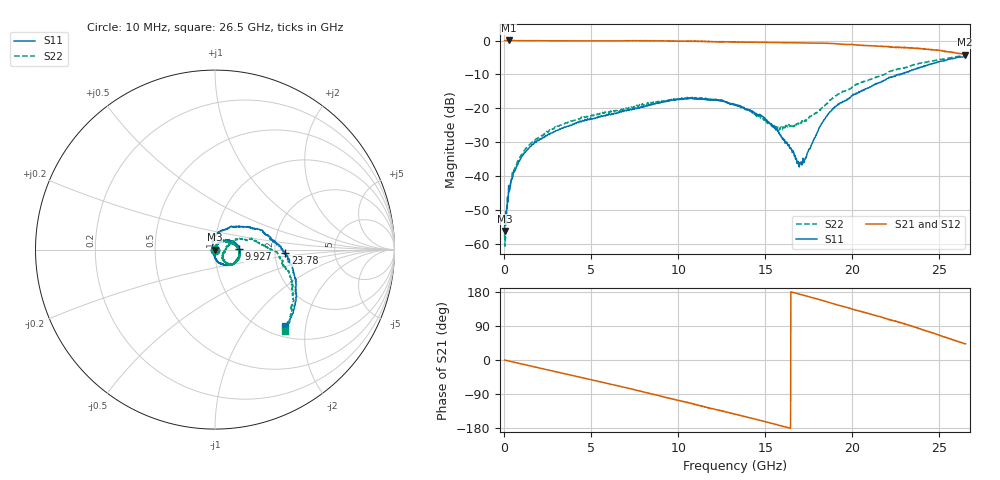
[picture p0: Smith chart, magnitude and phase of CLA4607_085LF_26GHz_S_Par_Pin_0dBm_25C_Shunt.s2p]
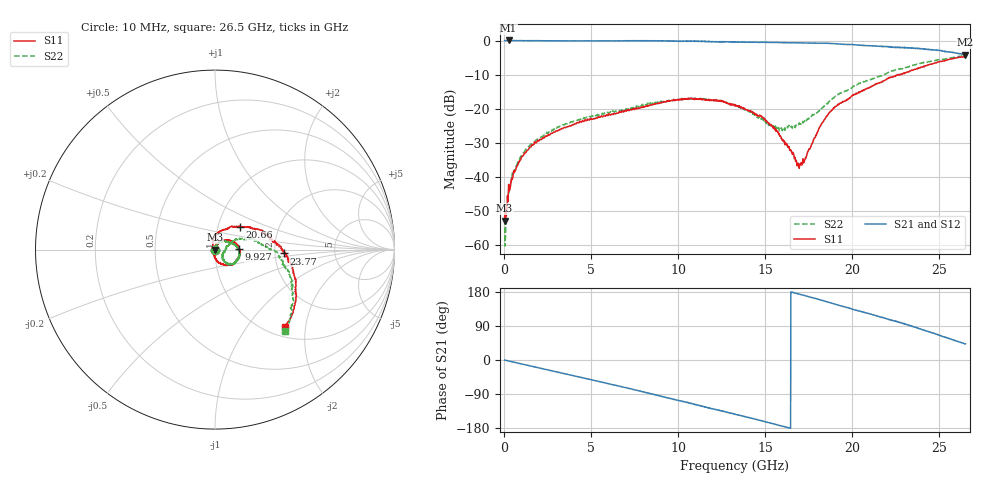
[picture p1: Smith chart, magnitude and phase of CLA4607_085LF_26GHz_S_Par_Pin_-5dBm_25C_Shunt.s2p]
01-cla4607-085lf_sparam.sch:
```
<Qucs Schematic 0.0.19>
<Properties>
  <View=100,11,1819,775,0.879581,0,0>
  <Grid=10,10,1>
  <DataSet=01-cla4607-085lf_sparam.dat>
  <DataDisplay=01-cla4607-085lf_sparam.dpl>
  <OpenDisplay=0>
  <Script=01-cla4607-085lf_sparam.m>
  <RunScript=0>
  <showFrame=0>
  <FrameText0=Title>
  <FrameText1=Drawn By:>
  <FrameText2=Date:>
  <FrameText3=Revision:>
</Properties>
<Symbol>
</Symbol>
<Components>
  <GND * 1 290 290 0 0 0 0>
  <Pac P2 1 380 300 18 -26 0 1 "2" 1 "50 Ohm" 1 "0 dBm" 0 "1 GHz" 0 "26.85" 0>
  <GND * 1 380 350 0 0 0 0>
  <Pac P1 1 170 290 18 -26 0 1 "1" 1 "50 Ohm" 1 "0 dBm" 0 "1 GHz" 0 "26.85" 0>
  <GND * 1 170 340 0 0 0 0>
  <SPfile X1 1 290 240 -26 -46 0 0 "C:/Users/hop/Documents/GitHub/QUCS/32-pin_diode/CLA4607_085LF_26GHz_S_Par_Pin_0dBm_25C_Shunt.s2p" 0 "rectangular" 0 "linear" 0 "open" 0 "2" 0>
  <GND * 1 290 460 0 0 0 0>
  <GND * 1 380 520 0 0 0 0>
  <GND * 1 170 510 0 0 0 0>
  <Pac P4 1 380 470 18 -26 0 1 "4" 1 "50 Ohm" 1 "0 dBm" 0 "1 GHz" 0 "26.85" 0>
  <Pac P5 1 170 460 18 -26 0 1 "3" 1 "50 Ohm" 1 "0 dBm" 0 "1 GHz" 0 "26.85" 0>
  <SPfile X2 1 290 410 -26 -46 0 0 "C:/Users/hop/Documents/GitHub/QUCS/32-pin_diode/CLA4607_085LF_26GHz_S_Par_Pin_-5dBm_25C_Shunt.s2p" 0 "rectangular" 0 "linear" 0 "open" 0 "2" 0>
  <.SP SP1 1 680 60 0 79 0 0 "log" 1 "1 Hz" 1 "1 GHz" 1 "500" 1 "no" 0 "1" 0 "2" 0 "no" 0 "no" 0>
  <Eqn Eqn2_m5dBm 1 560 410 -37 18 0 0 "Z_m5dBm=25*S[4,3]/(1-S[4,3])" 1 "yes" 0>
  <GND * 1 280 650 0 0 0 0>
  <GND * 1 370 710 0 0 0 0>
  <GND * 1 160 700 0 0 0 0>
  <Pac P7 1 160 650 18 -26 0 1 "5" 1 "50 Ohm" 1 "0 dBm" 0 "1 GHz" 0 "26.85" 0>
  <Pac P6 1 370 660 18 -26 0 1 "6" 1 "50 Ohm" 1 "0 dBm" 0 "1 GHz" 0 "26.85" 0>
  <SPfile X3 1 280 600 -26 -46 0 0 "C:/Users/hop/Documents/GitHub/QUCS/32-pin_diode/CLA4607_085LF_26GHz_S_Par_Pin_-10dBm_25C_Shunt.s2p" 0 "rectangular" 0 "linear" 0 "open" 0 "2" 0>
  <Eqn Eqn2_m10dBm 1 550 600 -37 18 0 0 "Z_m10dBm=25*S[6,5]/(1-S[6,5])" 1 "yes" 0>
  <Eqn Eqn1_0dBm 1 550 240 -37 18 0 0 "Z_0dBm=25*S[2,1]/(1-S[2,1])" 1 "yes" 0>
</Components>
<Wires>
  <290 270 290 290 "" 0 0 0 "">
  <380 330 380 350 "" 0 0 0 "">
  <170 240 260 240 "" 0 0 0 "">
  <170 320 170 340 "" 0 0 0 "">
  <170 240 170 260 "" 0 0 0 "">
  <380 240 380 270 "" 0 0 0 "">
  <320 240 380 240 "" 0 0 0 "">
  <290 440 290 460 "" 0 0 0 "">
  <380 500 380 520 "" 0 0 0 "">
  <170 410 260 410 "" 0 0 0 "">
  <170 490 170 510 "" 0 0 0 "">
  <170 410 170 430 "" 0 0 0 "">
  <380 410 380 440 "" 0 0 0 "">
  <320 410 380 410 "" 0 0 0 "">
  <280 630 280 650 "" 0 0 0 "">
  <370 690 370 710 "" 0 0 0 "">
  <160 600 250 600 "" 0 0 0 "">
  <160 680 160 700 "" 0 0 0 "">
  <160 600 160 620 "" 0 0 0 "">
  <370 600 370 630 "" 0 0 0 "">
  <310 600 370 600 "" 0 0 0 "">
</Wires>
<Diagrams>
  <Rect 934 569 858 469 3 #c0c0c0 1 13 1 1 1 1e+09 1 100 1 100000 1 0 1 0 315 0 225 "Frequency [Hz]" "" "">
	<"Z_0dBm" #0000ff 2 3 0 0 0>
	<"Z_m5dBm" #ff0000 2 3 0 0 0>
	<"Z_m10dBm" #90d800 2 3 0 0 0>
  </Rect>
</Diagrams>
<Paintings>
  <Text 160 110 18 #000000 0 "CLA4607-085LF">
  <Rectangle 140 90 470 70 #000000 5 1 #c0c0c0 1 0>
  <Text 440 120 12 #000000 0 "PIN Diode">
</Paintings>
```
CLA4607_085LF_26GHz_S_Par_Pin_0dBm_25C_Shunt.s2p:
!Agilent Technologies,N5242A,MY49421564,A.09.80.20
!Agilent N5242A: A.09.80.20
!Date: Tuesday, November 08, 2016 23:47:21
!Correction: S33(Full 2 Port(3,4))
!S43(Full 2 Port(3,4))
!S34(Full 2 Port(3,4))
!S44(Full 2 Port(3,4))
!S2P File: Measurements: S33, S43, S34, S44:
# Hz S  dB  R 50
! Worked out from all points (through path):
!   1601 points, 10 MHz to 26.5 GHz, reference 50 ohm
!   highest |S21| = 0.04 dB at 241.8 MHz (marker M1); lowest = -4.2 dB at 26.48 GHz (marker M2)
!   group delay of S21, straight-line fit = 32.7 ps
!   lowest |S11| = -56.3 dB at 10 MHz (marker M3), VSWR 1.00, Z = 49.9 - j0.0781 ohm
!   |S11| at or under -10 dB: start of sweep to 22.62 GHz; 22.64025 GHz to 22.6866 GHz (46.34 MHz wide, 0.204 % of centre); 22.69639 GHz to 22.74501 GHz (48.62 MHz wide, 0.214 % of centre)
!   |S22| runs from -60.8 to -4.5 dB; largest |S21 - S12| = 0.026
!   S11 on the Smith chart (normalised r, x): 10 MHz: 1.00, -0.00; 9.927 GHz: 1.31, +0.01; 23.78 GHz: 2.29, -0.10; 26.5 GHz: 1.20, -1.55
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1e7  -56.28 -149.3  0.01 -0.1  0.00 -0.1  -57.27 -81.4
2.417875e8  -42.85 128.7  0.04 -2.6  -0.01 -2.6  -44.90 78.2
1.003375e9  -34.17 80.9  -0.00 -10.6  -0.04 -10.6  -33.63 70.5
2.543106e9  -27.72 60.5  -0.05 -26.7  -0.07 -26.7  -26.91 55.5
9.927194e9  -17.37 2.1  -0.19 -105.7  -0.15 -105.4  -17.36 -5.3
1.3255e10  -19.00 -50.5  -0.45 -143.5  -0.34 -142.9  -18.91 -48.5
1.699671e10  -36.09 -179.1  -0.66 173.3  -0.60 172.9  -24.54 4.8
1.904969e10  -19.40 72.9  -0.93 146.5  -0.95 146.3  -16.29 22.2
2.378478e10  -8.12 -2.7  -2.21 84.3  -2.43 84.0  -6.87 -20.7
2.648344e10  -4.79 -47.4  -4.15 42.9  -4.25 42.6  -4.53 -49.4
2.65e10  -4.73 -47.6  -4.08 42.7  -4.23 42.6  -4.48 -49.4
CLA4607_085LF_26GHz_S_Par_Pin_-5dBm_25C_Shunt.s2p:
!Agilent Technologies,N5242A,MY49421564,A.09.80.20
!Agilent N5242A: A.09.80.20
!Date: Tuesday, November 08, 2016 23:47:56
!Correction: S33(Full 2 Port(3,4))
!S43(Full 2 Port(3,4))
!S34(Full 2 Port(3,4))
!S44(Full 2 Port(3,4))
!S2P File: Measurements: S33, S43, S34, S44:
# Hz S  dB  R 50
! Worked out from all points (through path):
!   1601 points, 10 MHz to 26.5 GHz, reference 50 ohm
!   highest |S21| = 0.05 dB at 241.8 MHz (marker M1); lowest = -4.2 dB at 26.48 GHz (marker M2)
!   group delay of S21, straight-line fit = 32.7 ps
!   lowest |S11| = -52.9 dB at 10 MHz (marker M3), VSWR 1.00, Z = 49.8 - j0.109 ohm
!   |S11| at or under -10 dB: start of sweep to 22.62 GHz; 22.6467 GHz to 22.68226 GHz (35.56 MHz wide, 0.157 % of centre); 22.70005 GHz to 22.74441 GHz (44.36 MHz wide, 0.195 % of centre)
!   |S22| runs from -60.4 to -4.5 dB; largest |S21 - S12| = 0.027
!   S11 on the Smith chart (normalised r, x): 10 MHz: 1.00, -0.00; 9.927 GHz: 1.31, +0.01; 20.66 GHz: 1.27, +0.33; 23.77 GHz: 2.25, -0.11; 26.5 GHz: 1.20, -1.54
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1e7  -52.88 -151.3  0.01 0.0  0.01 -0.1  -52.53 -101.4
2.417875e8  -42.28 132.6  0.05 -2.6  -0.01 -2.6  -45.04 86.3
1.003375e9  -34.13 82.8  0.00 -10.6  -0.03 -10.6  -33.76 72.8
2.543106e9  -27.69 61.3  -0.05 -26.7  -0.07 -26.7  -27.03 56.5
9.927194e9  -17.36 1.8  -0.19 -105.7  -0.15 -105.5  -17.43 -5.2
1.3255e10  -19.03 -50.8  -0.45 -143.6  -0.33 -142.9  -18.99 -48.5
1.69636e10  -36.87 -172.5  -0.67 173.7  -0.60 173.5  -24.32 2.9
2.065564e10  -14.64 42.1  -1.50 126.1  -1.46 125.9  -12.09 8.0
2.376822e10  -8.28 -3.1  -2.32 84.8  -2.47 84.0  -6.93 -21.2
2.648344e10  -4.79 -47.4  -4.15 42.8  -4.24 42.6  -4.53 -49.5
2.65e10  -4.73 -47.6  -4.08 42.7  -4.23 42.6  -4.48 -49.5
